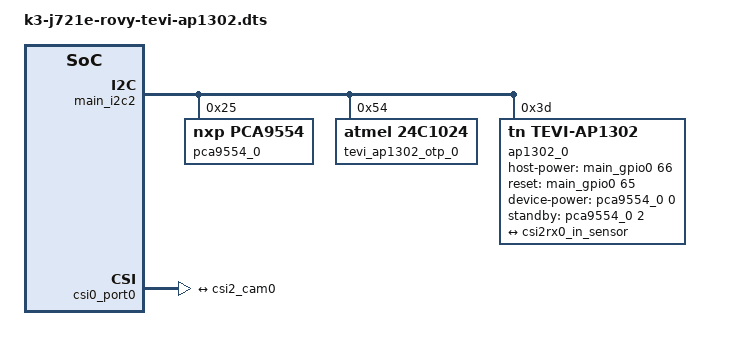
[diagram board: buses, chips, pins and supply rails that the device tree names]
// SPDX-License-Identifier: GPL-2.0
/**
 * DT Overlay for Technexion AR series camera interfaced with CSI2 on J721E-EAIK board.
 *
 * Copyright (C) 2022 Technexion Ltd.
 */

/dts-v1/;
/plugin/;

#include <dt-bindings/gpio/gpio.h>
#include <dt-bindings/interrupt-controller/irq.h>
#include <dt-bindings/pinctrl/k3.h>

&main_pmx0 {

	main_rovy_cam0_pins_default: main-rovy-cam0-pins-default {
		pinctrl-single,pins = <
			J721E_IOPAD(0x108, PIN_OUTPUT, 7) /* (AD27) PRG0_PRU1_GPO2.GPIO0_65 */
			J721E_IOPAD(0x10c, PIN_OUTPUT, 7) /* (AC25) PRG0_PRU1_GPO3.GPIO0_66 */
		>;
	};
};

&main_i2c2 {
	#address-cells = <1>;
	#size-cells = <0>;

	pca9554_0: pca9554_0@25 {
		compatible = "nxp,pca9554";
		reg = <0x25>;
		gpio-controller;
		#gpio-cells = <2>;
		status = "okay";
	};

	tevi_ap1302_otp_0: tevi_ap1302_otpi_0@54 {
		compatible = "atmel,24c1024";
		reg = <0x54>;
		pagesize = <128>;
		status = "okay";
	};

	ap1302_0: ap1302_0@3d {
		compatible = "tn,tevi-ap1302";
		reg = <0x3d>;

		pinctrl-names = "default";
		pinctrl-0 = <&main_rovy_cam0_pins_default>;

		host-power-gpios = <&main_gpio0 66 GPIO_ACTIVE_HIGH>;	//CSI0_PWDN_GPIO0_66
		reset-gpios = <&main_gpio0 65 GPIO_ACTIVE_HIGH>;	//CSI0_RST_N_GPIO0_65
		device-power-gpios = <&pca9554_0 0 GPIO_ACTIVE_HIGH>;
		standby-gpios = <&pca9554_0 2 GPIO_ACTIVE_HIGH>;

		nvmem = <&tevi_ap1302_otp_0>;
		nvmem-names = "calib-data";
		pixel-rate = <61430400>; /* 61.43MHz */
		// pixel-rate = <614304000>; /* 184.29MHz */
		data-lanes = <2>;
		continuous-clock = <0>;
		status = "okay";

		#address-cells = <1>;
		#size-cells = <0>;

		port {
			csi2_cam0: endpoint {
				remote-endpoint = <&csi2rx0_in_sensor>;
				clock-lanes = <0>;
				data-lanes = <1 2>;
			};
		};
	};
};

&csi0_port0 {
	status = "okay";
	csi2rx0_in_sensor: endpoint {
		remote-endpoint = <&csi2_cam0>;
		bus-type = <4>; /* CSI2 DPHY. */
		clock-lanes = <0>;
		data-lanes = <1 2>;
	};
};

